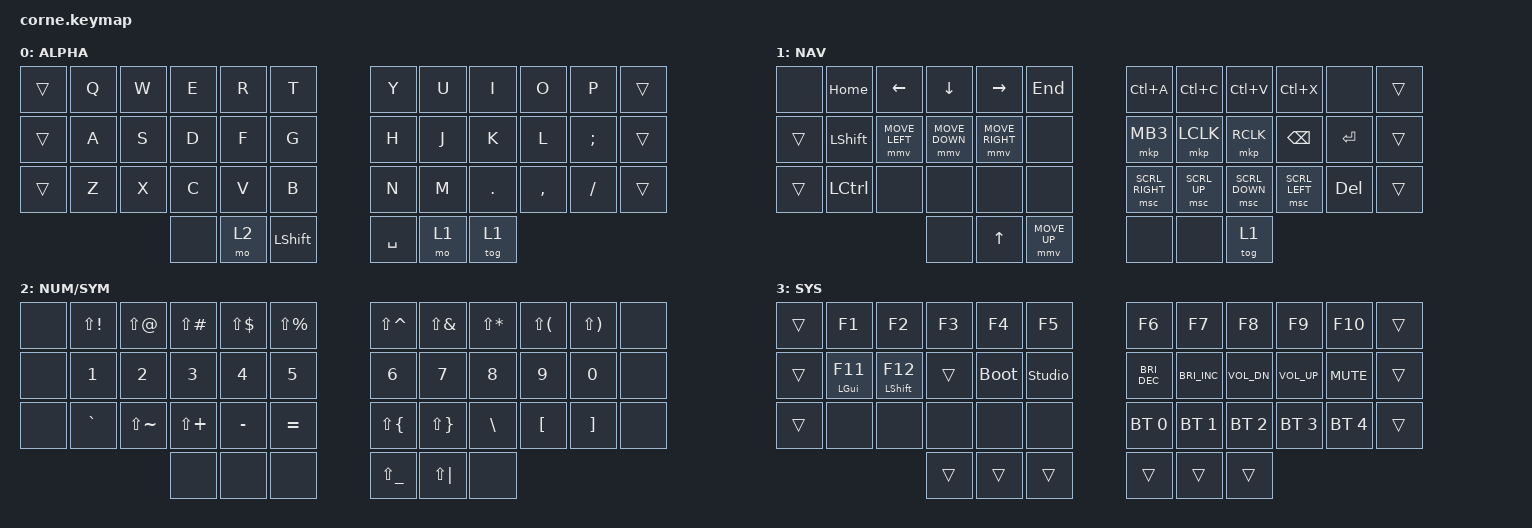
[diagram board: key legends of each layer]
#include <behaviors.dtsi>
#include <dt-bindings/zmk/bt.h>
#include <dt-bindings/zmk/keys.h>
#include <dt-bindings/zmk/pointing.h>

#define DEF 0
#define NAV 1
#define SYM 2
#define ADJ 3
#define EXTRA 4

/ {
    behaviors {
        hm: homerow_mods {
            compatible = "zmk,behavior-hold-tap";
            #binding-cells = <2>;
            tapping-term-ms = <200>;
            flavor = "tap-preferred";
            bindings = <&kp>, <&kp>;

            quick-tap-ms = <180>;
            require-prior-idle-ms = <120>; /* tune to taste */
        };

        para: para {
            compatible = "zmk,behavior-tap-dance";
            #binding-cells = <0>;
            bindings = <&kp LEFT_PARENTHESIS>, <&kp RIGHT_PARENTHESIS>;
        };

        caps: caps {
            compatible = "zmk,behavior-caps-word";
            #binding-cells = <0>;
            continue-list = <MINUS BACKSPACE>;
        };

        paraless: paraless {
            compatible = "zmk,behavior-mod-morph";
            bindings = <&kp LEFT_PARENTHESIS>, <&kp LESS_THAN>;

            #binding-cells = <0>;
            mods = <(MOD_LSFT)>;
        };

        paragreat: paragreat {
            compatible = "zmk,behavior-mod-morph";
            bindings = <&kp RIGHT_PARENTHESIS>, <&kp GREATER_THAN>;

            #binding-cells = <0>;
            mods = <(MOD_LSFT)>;
        };
    };

    macros {
        browsertab: browsertab {
            compatible = "zmk,behavior-macro";
            #binding-cells = <0>;
            bindings =
                <&macro_press>,
                <&kp LCTRL>,
                <&macro_tap>,
                <&kp TAB>,
                <&macro_release>,
                <&kp LCTRL>;
        };
    };

    combos {
        compatible = "zmk,combos";

        leftControl {
            bindings = <&kp LEFT_CONTROL>;
            key-positions = <33 34>;
        };

        sysLayer {
            bindings = <&mo 3>;
            key-positions = <36 41>;
        };

        leftAlt {
            bindings = <&kp LEFT_ALT>;
            key-positions = <32 34>;
        };

        leftGui {
            bindings = <&kp LEFT_GUI>;
            key-positions = <32 33 34>;
        };

        escape {
            bindings = <&kp ESCAPE>;
            key-positions = <1 2>;
        };

        quote {
            bindings = <&kp SINGLE_QUOTE>;
            key-positions = <21 22>;
        };

        exclamation {
            bindings = <&kp EXCL>;
            key-positions = <13 25>;
        };

        at {
            bindings = <&kp AT>;
            key-positions = <26 14>;
        };

        hash {
            bindings = <&kp POUND>;
            key-positions = <27 15>;
        };

        dollar {
            bindings = <&kp DOLLAR>;
            key-positions = <16 28>;
        };

        percent {
            bindings = <&kp PERCENT>;
            key-positions = <17 29>;
        };

        caret {
            bindings = <&kp CARET>;
            key-positions = <30 18>;
        };

        ampersand {
            bindings = <&kp AMPERSAND>;
            key-positions = <19 31>;
        };

        star {
            bindings = <&kp ASTRK>;
            key-positions = <20 32>;
        };

        closeParen {
            bindings = <&kp RIGHT_PARENTHESIS>;
            key-positions = <22 34>;
        };

        equal {
            bindings = <&kp EQUAL>;
            key-positions = <9 21>;
        };

        dash {
            bindings = <&kp MINUS>;
            key-positions = <8 20>;
        };

        openbrack {
            bindings = <&kp LEFT_BRACKET>;
            key-positions = <6 18>;
        };

        closebrack {
            bindings = <&kp RIGHT_BRACKET>;
            key-positions = <7 19>;
        };

        leftTab {
            bindings = <&kp TAB>;
            key-positions = <13 1>;
        };

        openParen {
            bindings = <&kp LEFT_PARENTHESIS>;
            key-positions = <21 33>;
        };

        backslash {
            bindings = <&kp BACKSLASH>;
            key-positions = <10 22>;
        };
    };

    //

    keymap {
        compatible = "zmk,keymap";

        Alpha {
            display-name = "ALPHA";

            // -----------------------------------------------------------------------------------------
            // |  Q  |  W  |  E  |  R  |  T  |   |  Y  |  U   |  I  |  O  |  P  |
            // |  A  |  S  |  D  |  F  |  G  |   |  H  |  J   |  K  |  L  |  ;  |
            // |  Z  |  X  |  C  |  V  |  B  |   |  N  |  M   |  ,  |  .  |  /  |
            // | GUI | CTRL | SHFT | LWR | SPC |   | ENT | RSE  | BKSP | ALT | ESC |

            bindings = <
&trans  &kp Q  &kp W  &kp E  &kp R  &kp T             &kp Y      &kp U  &kp I    &kp O      &kp P     &trans
&trans  &kp A  &kp S  &kp D  &kp F  &kp G             &kp H      &kp J  &kp K    &kp L      &kp SEMI  &trans
&trans  &kp Z  &kp X  &kp C  &kp V  &kp B             &kp N      &kp M  &kp DOT  &kp COMMA  &kp FSLH  &trans
                      &none  &mo 2  &kp LEFT_SHIFT    &kp SPACE  &mo 1  &tog 1
            >;
        };

        Navigation {
            display-name = "NAV";
            bindings = <
&none   &kp HOME          &kp LEFT_ARROW  &kp DOWN        &kp RIGHT        &kp END         &kp LC(A)        &kp LC(C)     &kp LC(V)       &kp LC(X)       &none       &trans
&trans  &kp LEFT_SHIFT    &mmv MOVE_LEFT  &mmv MOVE_DOWN  &mmv MOVE_RIGHT  &none           &mkp MB3         &mkp LCLK     &mkp RCLK       &kp BACKSPACE   &kp RET     &trans
&trans  &kp LEFT_CONTROL  &none           &none           &none            &none           &msc SCRL_RIGHT  &msc SCRL_UP  &msc SCRL_DOWN  &msc SCRL_LEFT  &kp DELETE  &trans
                                          &none           &kp UP_ARROW     &mmv MOVE_UP    &none            &none         &tog 1
            >;
        };

        NumSym {
            bindings = <
&none  &kp LS(EXCL)  &kp LS(AT)     &kp LS(POUND)  &kp LS(DLLR)  &kp LS(PRCNT)    &kp LS(CARET)  &kp LS(AMPS)  &kp LS(STAR)  &kp LS(LPAR)  &kp LS(RPAR)  &none
&none  &kp N1        &kp N2         &kp N3         &kp N4        &kp N5           &kp N6         &kp N7        &kp N8        &kp N9        &kp N0        &none
&none  &kp GRAVE     &kp LS(TILDE)  &kp LS(PLUS)   &kp MINUS     &kp EQUAL        &kp LS(LBRC)   &kp LS(RBRC)  &kp BSLH      &kp LBKT      &kp RBKT      &none
                                    &none          &none         &none            &kp LS(UNDER)  &kp LS(PIPE)  &none
            >;

            label = "NUM/SYM";
        };

        System {
            display-name = "SYS";
            bindings = <
&trans  &kp F1        &kp F2         &kp F3  &kp F4       &kp F5            &kp F6         &kp F7                &kp F8        &kp F9           &kp F10       &trans
&trans  &hm LGUI F11  &hm LSHFT F12  &trans  &bootloader  &studio_unlock    &kp C_BRI_DEC  &kp C_BRIGHTNESS_INC  &kp C_VOL_DN  &kp C_VOLUME_UP  &kp C_MUTE    &trans
&trans  &none         &none          &none   &none        &none             &bt BT_SEL 0   &bt BT_SEL 1          &bt BT_SEL 2  &bt BT_SEL 3     &bt BT_SEL 4  &trans
                                     &trans  &trans       &trans            &trans         &trans                &trans
            >;
        };
    };
};
